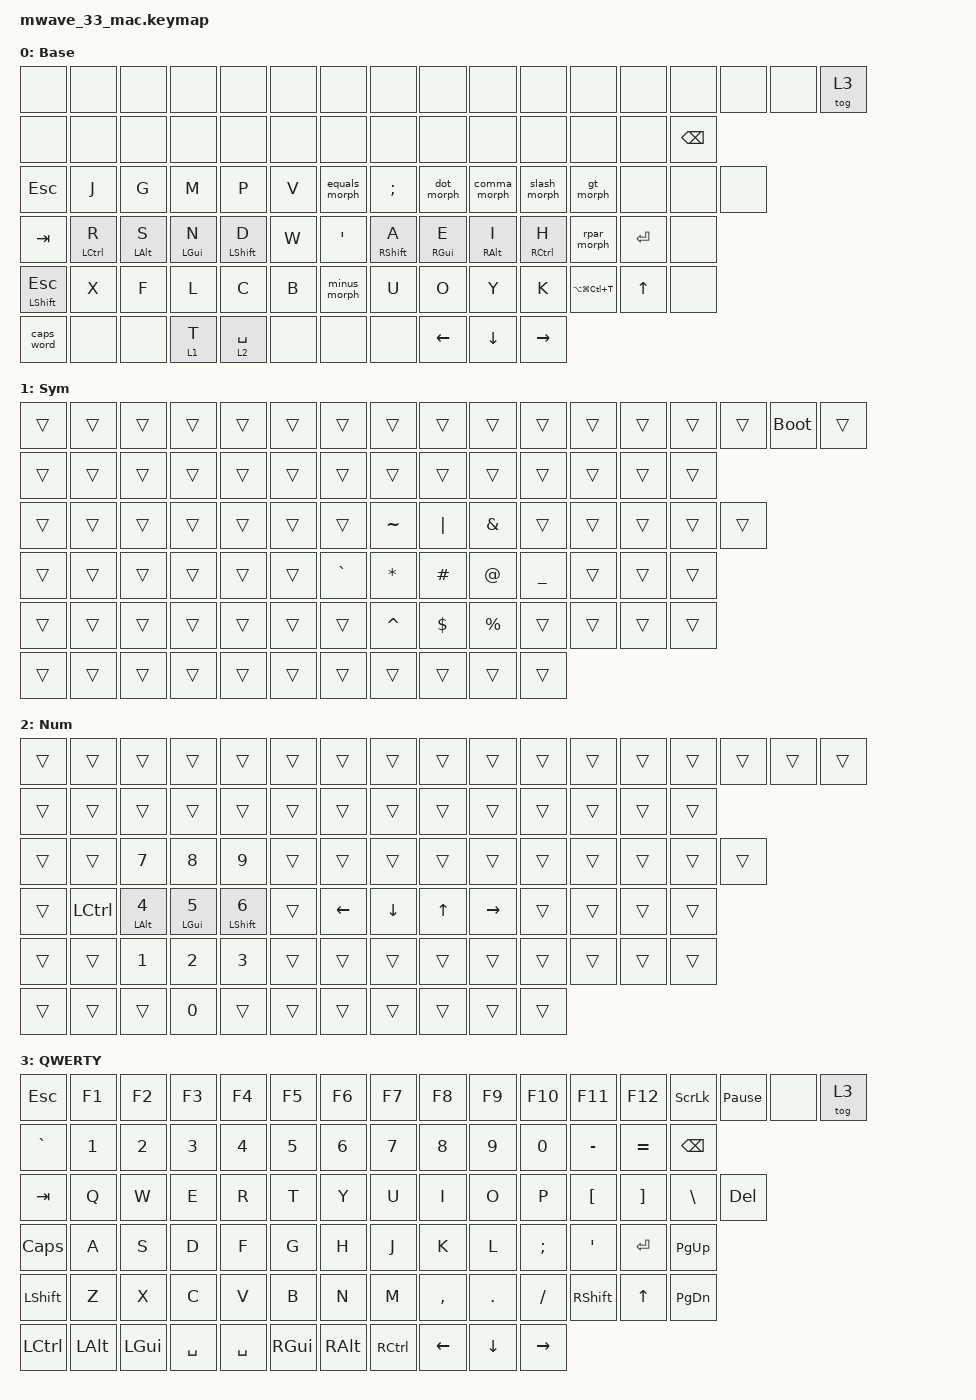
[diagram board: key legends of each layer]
#include <behaviors.dtsi>
#include <dt-bindings/zmk/backlight.h>
#include <dt-bindings/zmk/bt.h>
#include <dt-bindings/zmk/keys.h>
#include <dt-bindings/zmk/pointing.h>
#include <dt-bindings/zmk/outputs.h>
#include <dt-bindings/advertising_mode.h>
#include <behaviors/advertising_mode.dtsi>
#include <behaviors/stp_indicators.dtsi>
#include "studio-macros.dtsi"

// -----------------------------------------------------------------------
// Mwave key positions (85 total)
//
// Row 0 (F):     0   1   2   3   4   5   6  |  7   8   9  10  11  12  13  14  15  16
// Row 1 (Num):  17  18  19  20  21  22  23  | 24  25  26  27  28  29  30
// Row 2 (Top):  31  32  33  34  35  36      | 37  38  39  40  41  42  43  44  45
// Row 3 (Home): 46  47  48  49  50  51      | 52  53  54  55  56  57  58  59
// Row 4 (Bot):  60  61  62  63  64  65      | 66  67  68  69  70  71  72  73
// Row 5 (Mod):  74  75  76  77             | 78  79  80  81  82  83  84
// -----------------------------------------------------------------------

#define LEFT_HAND  0  1  2  3  4  5  6  17 18 19 20 21 22 23  31 32 33 34 35 36  46 47 48 49 50 51  60 61 62 63 64 65  74 75
#define RIGHT_HAND 7  8  9  10 11 12 13 14 15 16  24 25 26 27 28 29 30  37 38 39 40 41 42 43 44 45  52 53 54 55 56 57 58 59  66 67 68 69 70 71 72 73  80 81 82 83 84
#define THUMBS     76 77 78 79

/ {
    #include "mwave_prim.dtsi"

    macros {
        hyper: hyper {
            compatible = "zmk,behavior-macro";
            #binding-cells = <0>;
            wait-ms = <0>;
            tap-ms = <0>;
            bindings
                = <&macro_press &kp LSHFT &kp LCTRL &kp LALT &kp LGUI>
                , <&macro_pause_for_release>
                , <&macro_release &kp LGUI &kp LALT &kp LCTRL &kp LSHFT>
                ;
        };
    };

    behaviors {
        hml: hml {
            compatible = "zmk,behavior-hold-tap";
            #binding-cells = <2>;
            flavor = "balanced";
            tapping-term-ms = <280>;
            quick-tap-ms = <175>;
            hold-trigger-key-positions = <RIGHT_HAND THUMBS>;
            hold-trigger-on-release;
            bindings = <&kp>, <&kp>;
        };

        hmr: hmr {
            compatible = "zmk,behavior-hold-tap";
            #binding-cells = <2>;
            flavor = "balanced";
            tapping-term-ms = <280>;
            quick-tap-ms = <175>;
            hold-trigger-key-positions = <LEFT_HAND THUMBS>;
            hold-trigger-on-release;
            bindings = <&kp>, <&kp>;
        };

        // N/GUI variant: also triggers hold for R(47), TAB(46), W(51) on same hand
        hml_n: hml_n {
            compatible = "zmk,behavior-hold-tap";
            #binding-cells = <2>;
            flavor = "balanced";
            tapping-term-ms = <280>;
            quick-tap-ms = <175>;
            hold-trigger-key-positions = <RIGHT_HAND THUMBS 46 47 51>;
            hold-trigger-on-release;
            bindings = <&kp>, <&kp>;
        };

        // . -> shift: !
        dot_morph: dot_morph {
            compatible = "zmk,behavior-mod-morph";
            #binding-cells = <0>;
            bindings = <&kp DOT>, <&kp EXCL>;
            mods = <(MOD_LSFT|MOD_RSFT)>;
        };

        // , -> shift: ?
        comma_morph: comma_morph {
            compatible = "zmk,behavior-mod-morph";
            #binding-cells = <0>;
            bindings = <&kp COMMA>, <&kp QMARK>;
            mods = <(MOD_LSFT|MOD_RSFT)>;
        };

        // / -> shift: backslash
        slash_morph: slash_morph {
            compatible = "zmk,behavior-mod-morph";
            #binding-cells = <0>;
            bindings = <&kp FSLH>, <&kp BSLH>;
            mods = <(MOD_LSFT|MOD_RSFT)>;
        };

        // - -> shift: +
        minus_morph: minus_morph {
            compatible = "zmk,behavior-mod-morph";
            #binding-cells = <0>;
            bindings = <&kp MINUS>, <&kp PLUS>;
            mods = <(MOD_LSFT|MOD_RSFT)>;
        };

        // = always sends = regardless of shift/gui
        equals_morph: equals_morph {
            compatible = "zmk,behavior-mod-morph";
            #binding-cells = <0>;
            bindings = <&kp EQUAL>, <&kp EQUAL>;
            mods = <(MOD_LSFT|MOD_RSFT|MOD_LGUI|MOD_RGUI)>;
        };

        // bspc -> shift: del
        bspc_morph: bspc_morph {
            compatible = "zmk,behavior-mod-morph";
            #binding-cells = <0>;
            bindings = <&kp BSPC>, <&kp DEL>;
            mods = <(MOD_LSFT|MOD_RSFT)>;
        };

        // ( -> shift: {
        lpar_morph: lpar_morph {
            compatible = "zmk,behavior-mod-morph";
            #binding-cells = <0>;
            bindings = <&kp LPAR>, <&kp LBRC>;
            mods = <(MOD_LSFT|MOD_RSFT)>;
        };

        // ) -> shift: }
        rpar_morph: rpar_morph {
            compatible = "zmk,behavior-mod-morph";
            #binding-cells = <0>;
            bindings = <&kp RPAR>, <&kp RBRC>;
            mods = <(MOD_LSFT|MOD_RSFT)>;
        };

        // < -> shift: [
        lt_morph: lt_morph {
            compatible = "zmk,behavior-mod-morph";
            #binding-cells = <0>;
            bindings = <&kp LT>, <&kp LBKT>;
            mods = <(MOD_LSFT|MOD_RSFT)>;
        };

        // > -> shift: ]
        gt_morph: gt_morph {
            compatible = "zmk,behavior-mod-morph";
            #binding-cells = <0>;
            bindings = <&kp GT>, <&kp RBKT>;
            mods = <(MOD_LSFT|MOD_RSFT)>;
        };
    };

    combos {
        compatible = "zmk,combos";

        combo_z {
            timeout-ms = <35>;
            key-positions = <61 62>;
            bindings = <&kp Z>;
            layers = <0 1>;
        };

        combo_q {
            timeout-ms = <35>;
            key-positions = <33 34>;
            bindings = <&kp Q>;
            layers = <0 1>;
        };

        combo_copy {
            timeout-ms = <35>;
            key-positions = <62 63>;
            bindings = <&kp LG(C)>;
            layers = <0 1>;
        };

        combo_paste {
            timeout-ms = <35>;
            key-positions = <62 64>;
            bindings = <&kp LG(V)>;
            layers = <0 1>;
        };

        combo_sel_all {
            timeout-ms = <35>;
            key-positions = <61 64>;
            bindings = <&kp LG(A)>;
            layers = <0 1>;
        };

        combo_lprn {
            timeout-ms = <35>;
            key-positions = <53 54>;
            bindings = <&lpar_morph>;
        };

        combo_lt {
            timeout-ms = <35>;
            key-positions = <38 39>;
            bindings = <&lt_morph>;
        };

    };

    keymap {
        compatible = "zmk,keymap";

        default_layer {
            display-name = "Base";

            // -----------------------------------------------------------------------
            // Voyager 4R0X0 mapped onto Mwave
            //
            // Row 2:  ---  J  G  M  P  V  |  =  ;  .  ,  /  ---  ---  ---  ---
            // Row 3:  TAB  R  S  N  D  W  |  '  A  E  I  H   )  ---  ---
            //              ^c ^a ^g ^s        ^s ^g ^a ^c
            // Row 4:  HYP  X  F  L  C  B  |  -  U  O  Y  K  HOT ---  ---
            // Row 5:  --- --- ESC T/L1     | SPC/L2 RET --- --- --- --- ---
            //
            // Combos: X+F=Z  G+M=Q  F+L=Copy  F+C=Paste  X+C=SelAll
            //         A+E=(  E+I=Bspc  D+A=CapsWord
            // -----------------------------------------------------------------------

            bindings = <
&none      &none          &none          &none          &none          &none          &none              &none          &none          &none          &none          &none          &none          &none      &none      &none              &tog 3
&none      &none          &none          &none          &none          &none          &none              &none          &none          &none          &none          &none          &none          &kp BSPC
&kp ESC    &kp J          &kp G          &kp M          &kp P          &kp V          &equals_morph      &kp SEMI       &dot_morph     &comma_morph   &slash_morph   &gt_morph         &none          &none      &none
&kp TAB    &hml LCTRL R   &hml LALT S    &hml_n LGUI N  &hml LSHFT D   &kp W          &kp SQT            &hmr RSHFT A   &hmr RGUI E    &hmr RALT I    &hmr RCTRL H   &rpar_morph    &kp RET        &none
&mt LSHFT ESC &kp X          &kp F          &kp L          &kp C          &kp B          &minus_morph       &kp U          &kp O          &kp Y          &kp K          &kp LA(LG(LC(T))) &kp UP     &none
&caps_word &none          &none          &lt 1 T        &lt 2 SPACE    &none          &none              &none          &kp LEFT       &kp DOWN       &kp RIGHT
            >;
        };

        symbols_layer {
            display-name = "Sym";

            // Right side: symbols. Left side: transparent (pass-through to base).
            // ~  |  &          (row 2)
            // `  *  #  @  _    (row 3)
            // ^  $  %          (row 4)
            // Right thumb: BSPC

            bindings = <
&trans     &trans         &trans         &trans         &trans         &trans         &trans             &trans         &trans         &trans         &trans         &trans         &trans         &trans     &trans     &bootloader        &trans
&trans     &trans         &trans         &trans         &trans         &trans         &trans             &trans         &trans         &trans         &trans         &trans         &trans         &trans
&trans     &trans         &trans         &trans         &trans         &trans         &trans             &kp TILDE      &kp PIPE       &kp AMPS       &trans         &trans         &trans         &trans     &trans
&trans     &trans         &trans         &trans         &trans         &trans         &kp GRAVE          &kp ASTRK      &kp HASH       &kp AT         &kp UNDER      &trans         &trans         &trans
&trans     &trans         &trans         &trans         &trans         &trans         &trans             &kp CARET      &kp DLLR       &kp PRCNT      &trans         &trans         &trans         &trans
&trans     &trans         &trans         &trans         &trans         &trans         &trans             &trans         &trans         &trans         &trans
            >;
        };

        num_nav_layer {
            display-name = "Num";

            // Left side: numpad (7-9 / 4-6 / 1-3 / 0).
            // 4-6 have home row mods to match base layer.
            // Right side: arrow keys on home row.

            bindings = <
&trans     &trans         &trans         &trans         &trans         &trans         &trans             &trans         &trans         &trans         &trans         &trans         &trans         &trans     &trans     &trans             &trans
&trans     &trans         &trans         &trans         &trans         &trans         &trans             &trans         &trans         &trans         &trans         &trans         &trans         &trans
&trans     &trans         &kp N7         &kp N8         &kp N9         &trans         &trans             &trans         &trans         &trans         &trans         &trans         &trans         &trans     &trans
&trans     &kp LCTRL      &hml LALT N4   &hml LGUI N5   &hml LSHFT N6  &trans         &kp LEFT           &kp DOWN       &kp UP         &kp RIGHT      &trans         &trans         &trans         &trans
&trans     &trans         &kp N1         &kp N2         &kp N3         &trans         &trans             &trans         &trans         &trans         &trans         &trans         &trans         &trans
&trans     &trans         &trans         &kp N0         &trans         &trans         &trans             &trans         &trans         &trans         &trans
            >;
        };

        qwerty_layer {
            display-name = "QWERTY";
            bindings = <
&kp ESC    &kp F1         &kp F2         &kp F3         &kp F4         &kp F5         &kp F6             &kp F7         &kp F8         &kp F9         &kp F10        &kp F11        &kp F12        &kp SLCK   &kp PAUSE_BREAK &none          &tog 3
&kp GRAVE  &kp N1         &kp N2         &kp N3         &kp N4         &kp N5         &kp N6             &kp N7         &kp N8         &kp N9         &kp N0         &kp MINUS      &kp EQUAL      &kp BSPC
&kp TAB    &kp Q          &kp W          &kp E          &kp R          &kp T          &kp Y              &kp U          &kp I          &kp O          &kp P          &kp LBKT       &kp RBKT       &kp BSLH       &kp DEL
&kp CLCK   &kp A          &kp S          &kp D          &kp F          &kp G          &kp H              &kp J          &kp K          &kp L          &kp SEMI       &kp SQT        &kp RET        &kp PG_UP
&kp LSHFT  &kp Z          &kp X          &kp C          &kp V          &kp B          &kp N              &kp M          &kp COMMA      &kp DOT        &kp FSLH       &kp RSHFT      &kp UP         &kp PG_DN
&kp LCTRL  &kp LALT       &kp LGUI       &kp SPACE      &kp SPACE      &kp RGUI       &kp RALT           &kp RCTRL      &kp LEFT       &kp DOWN       &kp RIGHT
            >;
        };

        extra2 {
            display-name = "Green";
            status = "reserved";
        };

        extra3 {
            display-name = "Red";
            status = "reserved";
        };

        extra4 {
            display-name = "Purple";
            status = "reserved";
        };

        extra5 {
            display-name = "Cyan";
            status = "reserved";
        };
    };
};
